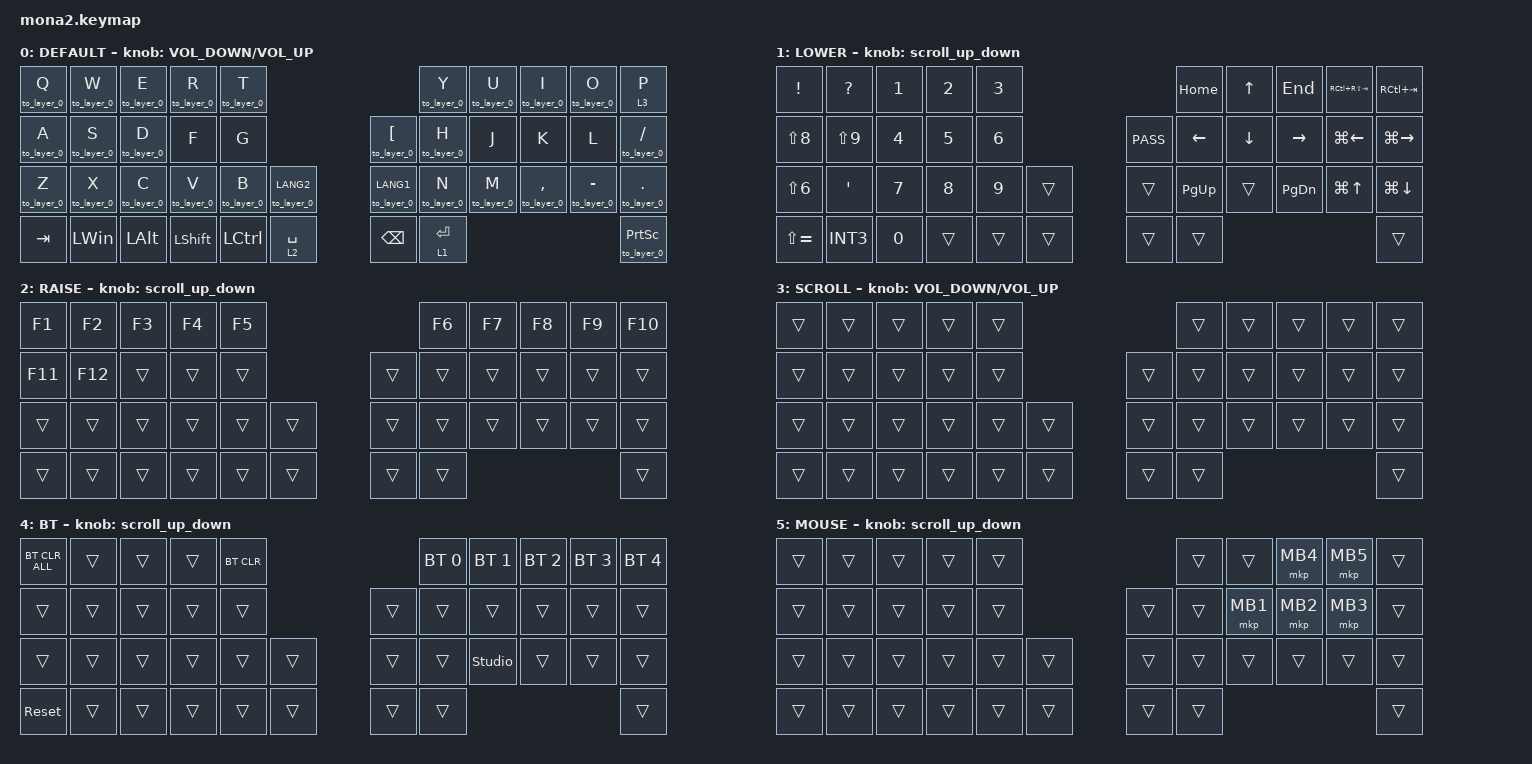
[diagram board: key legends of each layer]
#include <dt-bindings/zmk/input_transform.h>
#include <zephyr/dt-bindings/input/input-event-codes.h>
#include <input/processors.dtsi>
#include <behaviors.dtsi>
#include <dt-bindings/zmk/bt.h>
#include <dt-bindings/zmk/keys.h>
#include <dt-bindings/zmk/pointing.h>

#define ZMK_POINTING_DEFAULT_SCRL_VAL 100

// ==========================================
// ✨ オートマウスレイヤー＆外部ツール完全互換設定
// ==========================================
// WebエディターやDrawジョブが読み込む時は、右手用の特殊ノードを隠してパースエラーを回避します

#if defined(KEYMAP_DRAWER) || defined(ZMK_KEYMAP_EDITOR)
    // エディタ閲覧・編集時はここが適用されます（ダミー領域）
#else

// 実際のキーボードビルド時は、右手overlayで定義した本物のリスナーに自動切り替えを適用します

&trackball_central_listener {
    input-processors = <&zip_temp_layer 5 5000>; // トラックボールを動かすと5秒間レイヤー5（MOUSE）を維持
};

#endif

// ==========================================

&mt {
    flavor = "balanced";
    quick-tap-ms = <175>;
};

&lt {
    quick-tap-ms = <175>;
    flavor = "balanced";
};

/ {
    combos {
        compatible = "zmk,combos";
        combo_timeout_ms = <30>;

        bluetooth {
            bindings = <&mo 4>;
            key-positions = <27 40>;
        };

        esc {
            bindings = <&kp ESC>;
            key-positions = <0 1>;
        };

        del {
            bindings = <&kp DELETE>;
            key-positions = <39 38>;
        };
    };

    macros {
        to_layer_0: to_layer_0 {
            compatible = "zmk,behavior-macro-one-param";
            #binding-cells = <1>;
            bindings = <&to 0 &macro_param_1to1 &kp MACRO_PLACEHOLDER>;
            label = "TO_LAYER_0";
        };

        PASS: PASS {
            compatible = "zmk,behavior-macro";
            #binding-cells = <0>;
            bindings =
                <&kp NUMBER_8>,
                <&macro_tap>,
                <&kp NUMBER_7>,
                <&macro_tap>,
                <&kp NUMBER_9>,
                <&macro_tap>,
                <&kp NUMBER_3>;

            label = "PASS";
        };
    };

    behaviors {
        lt_to_layer_0: lt_to_layer_0 {
            compatible = "zmk,behavior-hold-tap";
            label = "LAYER_TAP_TO_0";
            bindings = <&mo>, <&to_layer_0>;

            #binding-cells = <2>;
            tapping-term-ms = <200>;
        };

        // ロータリーエンコーダー（ホイール）用スクロール挙動定義

        scroll_up_down: mouse_wheel_up_down {
            compatible = "zmk,behavior-sensor-rotate";
            #sensor-binding-cells = <0>;
            bindings = <&msc SCRL_DOWN>, <&msc SCRL_UP>;
        };

        scroll_right_left: mouse_wheel_right_left {
            compatible = "zmk,behavior-sensor-rotate";
            #sensor-binding-cells = <0>;
            bindings = <&msc SCRL_LEFT>, <&msc SCRL_RIGHT>;
        };
    };

    keymap {
        compatible = "zmk,keymap";

        // --------------------------------------------------------------------------
        // レイヤー 0: デフォルトキーマップ (JIS/英数・かな両対応仕様)
        // --------------------------------------------------------------------------

        default_layer {
            label = "DEFAULT";
            bindings = <
&to_layer_0 Q  &to_layer_0 W  &to_layer_0 E  &to_layer_0 R   &to_layer_0 T                                             &to_layer_0 Y  &to_layer_0 U  &to_layer_0 I      &to_layer_0 O      &lt 3 P
&to_layer_0 A  &to_layer_0 S  &to_layer_0 D  &kp F           &kp G                                  &to_layer_0 LBKT   &to_layer_0 H  &kp J          &kp K              &kp L              &to_layer_0 SLASH
&to_layer_0 Z  &to_layer_0 X  &to_layer_0 C  &to_layer_0 V   &to_layer_0 B     &to_layer_0 LANG2    &to_layer_0 LANG1  &to_layer_0 N  &to_layer_0 M  &to_layer_0 COMMA  &to_layer_0 MINUS  &to_layer_0 PERIOD
&kp TAB        &kp LEFT_WIN   &kp LEFT_ALT   &kp LEFT_SHIFT  &kp LEFT_CONTROL  &lt 2 SPACE          &kp BACKSPACE      &lt 1 ENTER                                                         &to_layer_0 PRINTSCREEN
            >;

            sensor-bindings = <&inc_dec_kp C_VOLUME_DOWN C_VOLUME_UP>;
        };

        // --------------------------------------------------------------------------
        // レイヤー 1: LOWER (テンキー・移動系レイヤー)
        // --------------------------------------------------------------------------

        layer_1 {
            label = "LOWER";
            bindings = <
&kp EXCLAMATION   &kp QUESTION      &kp NUMBER_1  &kp NUMBER_2  &kp NUMBER_3                    &kp HOME        &kp UP_ARROW    &kp END          &kp RC(RS(TAB))     &kp RC(TAB)
&kp LS(NUMBER_8)  &kp LS(NUMBER_9)  &kp NUMBER_4  &kp NUMBER_5  &kp NUMBER_6            &PASS   &kp LEFT_ARROW  &kp DOWN_ARROW  &kp RIGHT_ARROW  &kp LG(LEFT_ARROW)  &kp LG(RIGHT_ARROW)
&kp LS(NUMBER_6)  &kp SQT           &kp NUMBER_7  &kp NUMBER_8  &kp NUMBER_9  &trans    &trans  &kp PAGE_UP     &trans          &kp PAGE_DOWN    &kp LG(UP_ARROW)    &kp LG(DOWN_ARROW)
&kp LS(EQUAL)     &kp INT3          &kp NUMBER_0  &trans        &trans        &trans    &trans  &trans                                                               &trans
            >;

            sensor-bindings = <&scroll_up_down>;
        };

        // --------------------------------------------------------------------------
        // レイヤー 2: RAISE (ファンクションキー レイヤー)
        // --------------------------------------------------------------------------

        layer_2 {
            label = "RAISE";
            bindings = <
&kp F1   &kp F2   &kp F3  &kp F4  &kp F5                    &kp F6  &kp F7  &kp F8  &kp F9  &kp F10
&kp F11  &kp F12  &trans  &trans  &trans            &trans  &trans  &trans  &trans  &trans  &trans
&trans   &trans   &trans  &trans  &trans  &trans    &trans  &trans  &trans  &trans  &trans  &trans
&trans   &trans   &trans  &trans  &trans  &trans    &trans  &trans                          &trans
            >;

            sensor-bindings = <&scroll_up_down>;
        };

        // --------------------------------------------------------------------------
        // レイヤー 3: SCROLL (トラックボールをホイール化・ウインドウ操作レイヤー)
        // 🛈 右手側のキー数を12個に綺麗に修正し、コンパイルエラーを解決しました
        // --------------------------------------------------------------------------

        layer_3 {
            label = "SCROLL";
            bindings = <
&trans  &trans  &trans  &trans  &trans                    &trans  &trans  &trans  &trans  &trans
&trans  &trans  &trans  &trans  &trans            &trans  &trans  &trans  &trans  &trans  &trans
&trans  &trans  &trans  &trans  &trans  &trans    &trans  &trans  &trans  &trans  &trans  &trans
&trans  &trans  &trans  &trans  &trans  &trans    &trans  &trans                          &trans
            >;

            sensor-bindings = <&inc_dec_kp C_VOLUME_DOWN C_VOLUME_UP>;
        };

        // --------------------------------------------------------------------------
        // レイヤー 4: BT (Bluetooth・ペアリング管理レイヤー)
        // 🛈 4行目の不足していたキー数を「&trans」で補い、ジャスト42キーにアジャストしました
        // --------------------------------------------------------------------------

        layer_4 {
            label = "BT";
            bindings = <
&bt BT_CLR_ALL  &trans  &trans  &trans  &bt BT_CLR                    &bt BT_SEL 0  &bt BT_SEL 1    &bt BT_SEL 2  &bt BT_SEL 3  &bt BT_SEL 4
&trans          &trans  &trans  &trans  &trans                &trans  &trans        &trans          &trans        &trans        &trans
&trans          &trans  &trans  &trans  &trans      &trans    &trans  &trans        &studio_unlock  &trans        &trans        &trans
&sys_reset      &trans  &trans  &trans  &trans      &trans    &trans  &trans                                                    &trans
            >;

            sensor-bindings = <&scroll_up_down>;
        };

        // --------------------------------------------------------------------------
        // レイヤー 5: MOUSE (オートマウス発動時のマウスボタン配備レイヤー)
        // --------------------------------------------------------------------------

        layer_5 {
            label = "MOUSE";
            bindings = <
&trans  &trans  &trans  &trans  &trans                    &trans  &trans    &mkp MB4  &mkp MB5  &trans
&trans  &trans  &trans  &trans  &trans            &trans  &trans  &mkp MB1  &mkp MB2  &mkp MB3  &trans
&trans  &trans  &trans  &trans  &trans  &trans    &trans  &trans  &trans    &trans    &trans    &trans
&trans  &trans  &trans  &trans  &trans  &trans    &trans  &trans                                &trans
            >;

            sensor-bindings = <&scroll_up_down>;
        };
    };
};
